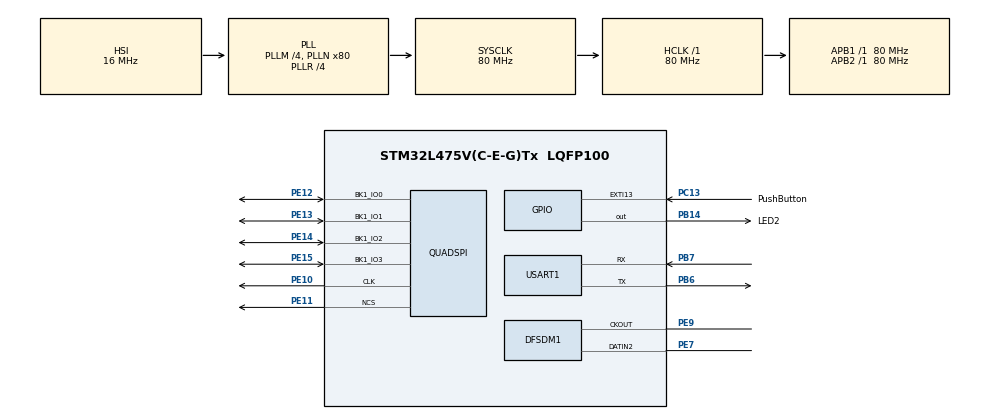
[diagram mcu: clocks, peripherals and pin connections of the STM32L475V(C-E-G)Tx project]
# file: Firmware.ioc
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DFSDM1.Divider=43
DFSDM1.DmaMode_reg_FIL0=ENABLE
DFSDM1.DmaMode_reg_FIL1=ENABLE
DFSDM1.FastMode_reg_FIL0=ENABLE
DFSDM1.FastMode_reg_FIL1=ENABLE
DFSDM1.Filter_regChannel_FIL0=DFSDM_CHANNEL_2
DFSDM1.Filter_regChannel_FIL1=DFSDM_CHANNEL_1
DFSDM1.Fosr_FIL0=64
DFSDM1.Fosr_FIL1=64
DFSDM1.RightBitShift_CH1=0x00
DFSDM1.RightBitShift_CH2=0x00
DFSDM1.Selection=DFSDM_CHANNEL_OUTPUT_CLOCK_AUDIO
DFSDM1.SincOrder_FIL0=DFSDM_FILTER_SINC4_ORDER
DFSDM1.SincOrder_FIL1=DFSDM_FILTER_SINC4_ORDER
DFSDM1.Trigger_reg_FIL1=DFSDM_FILTER_SYNC_TRIGGER
DFSDM1.Type_spi_CH1=DFSDM_CHANNEL_SPI_FALLING
Dma.DFSDM1_FLT0.0.Direction=DMA_PERIPH_TO_MEMORY
Dma.DFSDM1_FLT0.0.Instance=DMA1_Channel4
Dma.DFSDM1_FLT0.0.MemDataAlignment=DMA_MDATAALIGN_WORD
Dma.DFSDM1_FLT0.0.MemInc=DMA_MINC_ENABLE
Dma.DFSDM1_FLT0.0.Mode=DMA_CIRCULAR
Dma.DFSDM1_FLT0.0.PeriphDataAlignment=DMA_PDATAALIGN_WORD
Dma.DFSDM1_FLT0.0.PeriphInc=DMA_PINC_DISABLE
Dma.DFSDM1_FLT0.0.Priority=DMA_PRIORITY_MEDIUM
Dma.DFSDM1_FLT1.1.Direction=DMA_PERIPH_TO_MEMORY
Dma.DFSDM1_FLT1.1.Instance=DMA1_Channel5
Dma.DFSDM1_FLT1.1.MemDataAlignment=DMA_MDATAALIGN_WORD
Dma.DFSDM1_FLT1.1.MemInc=DMA_MINC_ENABLE
Dma.DFSDM1_FLT1.1.Mode=DMA_CIRCULAR
Dma.DFSDM1_FLT1.1.PeriphDataAlignment=DMA_PDATAALIGN_WORD
Dma.DFSDM1_FLT1.1.PeriphInc=DMA_PINC_DISABLE
Dma.DFSDM1_FLT1.1.Priority=DMA_PRIORITY_MEDIUM
Dma.MEMTOMEM.2.Direction=DMA_MEMORY_TO_MEMORY
Dma.MEMTOMEM.2.Instance=DMA2_Channel1
Dma.MEMTOMEM.2.MemDataAlignment=DMA_MDATAALIGN_HALFWORD
Dma.MEMTOMEM.2.MemInc=DMA_MINC_ENABLE
Dma.MEMTOMEM.2.Mode=DMA_NORMAL
Dma.MEMTOMEM.2.PeriphDataAlignment=DMA_PDATAALIGN_WORD
Dma.MEMTOMEM.2.PeriphInc=DMA_PINC_ENABLE
Dma.MEMTOMEM.2.Priority=DMA_PRIORITY_LOW
Dma.Request0=DFSDM1_FLT0
Dma.Request1=DFSDM1_FLT1
Dma.Request2=MEMTOMEM
Mcu.Family=STM32L4
Mcu.Name=STM32L475V(C-E-G)Tx
Mcu.Package=LQFP100
NVIC.DFSDM1_FLT0_IRQn=true\:0\:0\:false\:false\:true\:true\:true
NVIC.DFSDM1_FLT1_IRQn=true\:0\:0\:false\:false\:true\:true\:true
NVIC.DMA1_Channel4_IRQn=true\:0\:0\:false\:false\:true\:false\:true
NVIC.DMA1_Channel5_IRQn=true\:0\:0\:false\:false\:true\:false\:true
NVIC.EXTI15_10_IRQn=true\:0\:0\:false\:false\:true\:true\:true
NVIC.PriorityGroup=NVIC_PRIORITYGROUP_4
NVIC.QUADSPI_IRQn=true\:0\:0\:false\:false\:true\:true\:true
PA13\ (JTMS-SWDIO).Mode=Trace_Asynchronous_SW
PA13\ (JTMS-SWDIO).Signal=SYS_JTMS-SWDIO
PA14\ (JTCK-SWCLK).Mode=Trace_Asynchronous_SW
PA14\ (JTCK-SWCLK).Signal=SYS_JTCK-SWCLK
PB14.GPIO_Label=LED2
PB14.Signal=GPIO_Output
PB3\ (JTDO-TRACESWO).Mode=Trace_Asynchronous_SW
PB3\ (JTDO-TRACESWO).Signal=SYS_JTDO-SWO
PB6.Mode=Asynchronous
PB6.Signal=USART1_TX
PB7.Mode=Asynchronous
PB7.Signal=USART1_RX
PC13.GPIO_Label=PushButton
PC13.Signal=GPXTI13
PE10.Mode=Single Bank
PE10.Signal=QUADSPI_CLK
PE11.Mode=Single Bank
PE11.Signal=QUADSPI_NCS
PE12.Mode=Single Bank
PE12.Signal=QUADSPI_BK1_IO0
PE13.Mode=Single Bank
PE13.Signal=QUADSPI_BK1_IO1
PE14.Mode=Single Bank
PE14.Signal=QUADSPI_BK1_IO2
PE15.Mode=Single Bank
PE15.Signal=QUADSPI_BK1_IO3
PE7.Signal=S_DATAIN2DFSDM1
PE9.Signal=S_CKOUTDFSDM1
ProjectManager.HeapSize=0x2000
ProjectManager.StackSize=0x4000
ProjectManager.TargetToolchain=MDK-ARM V5
QUADSPI.ClockPrescaler-Single\ Bank=0
QUADSPI.FifoThreshold-Single\ Bank=1
QUADSPI.FlashSize-Single\ Bank=22
RCC.ADCFreq_Value=98000000
RCC.AHBFreq_Value=80000000
RCC.APB1Freq_Value=80000000
RCC.APB1TimFreq_Value=80000000
RCC.APB2Freq_Value=80000000
RCC.APB2TimFreq_Value=80000000
RCC.CortexFreq_Value=80000000
RCC.HCLKFreq_Value=80000000
RCC.HSE_VALUE=8000000
RCC.HSI_VALUE=16000000
RCC.LSE_VALUE=32768
RCC.MSI_VALUE=4000000
RCC.PLLM=4
RCC.PLLN=80
RCC.PLLR=RCC_PLLR_DIV4
RCC.PLLSAI1N=49
RCC.PLLSAI2N=77
RCC.PLLSourceVirtual=RCC_PLLSOURCE_HSI
RCC.SYSCLKFreq_VALUE=80000000
RCC.SYSCLKSource=RCC_SYSCLKSOURCE_PLLCLK
RCC.USBFreq_Value=98000000
RCC.VCOOutputFreq_Value=320000000
SH.S_CKOUTDFSDM1.0=DFSDM1_CKOUT,PDM_SPI_input_from_ch2_and_internal_clock
SH.S_CKOUTDFSDM1.1=DFSDM1_CKOUT,PDM_SPI_Input_from_ch12_and_Internal_Clock
SH.S_DATAIN2DFSDM1.0=DFSDM1_DATIN2,PDM_SPI_input_from_ch2_and_internal_clock
SH.S_DATAIN2DFSDM1.1=DFSDM1_DATIN2,PDM_SPI_Input_from_ch12_and_Internal_Clock
STMicroelectronics.X-CUBE-AI.5.0.0.ActivationBufferSizeList=26848
STMicroelectronics.X-CUBE-AI.5.0.0.ApplicationCcArtificialOoIntelligenceJjApplication=ApplicationTemplate
STMicroelectronics.X-CUBE-AI.5.0.0.HeapSize=0x2000
STMicroelectronics.X-CUBE-AI.5.0.0.InternalRamActivationBufferMaxSize=AI_NETWORK_DATA_ACTIVATIONS_SIZE
STMicroelectronics.X-CUBE-AI.5.0.0.LatestDirectoryUsed-129213f6098f1327f2c0a35e0a7ab425955aaf7d6b6f9bac26b286a76cc0bf04=D\:\\ETH\\Courses\\ML_on_uCU\\Project\\MyCodeVersion
STMicroelectronics.X-CUBE-AI.5.0.0.MaximumNumberOfInputLayer=1
STMicroelectronics.X-CUBE-AI.5.0.0.MaximumNumberOfOutputLayer=1
STMicroelectronics.X-CUBE-AI.5.0.0.MaximumSizeOfInputLayer=49920
STMicroelectronics.X-CUBE-AI.5.0.0.MaximumSizeOfOutputLayer=32
STMicroelectronics.X-CUBE-AI.5.0.0.ModelActualCompression-129213f6098f1327f2c0a35e0a7ab425955aaf7d6b6f9bac26b286a76cc0bf04=0.0
STMicroelectronics.X-CUBE-AI.5.0.0.ModelCompression-129213f6098f1327f2c0a35e0a7ab425955aaf7d6b6f9bac26b286a76cc0bf04=1
STMicroelectronics.X-CUBE-AI.5.0.0.ModelFlashOccupation-129213f6098f1327f2c0a35e0a7ab425955aaf7d6b6f9bac26b286a76cc0bf04=106368
STMicroelectronics.X-CUBE-AI.5.0.0.ModelHashList=129213f6098f1327f2c0a35e0a7ab425955aaf7d6b6f9bac26b286a76cc0bf04
STMicroelectronics.X-CUBE-AI.5.0.0.ModelKind-129213f6098f1327f2c0a35e0a7ab425955aaf7d6b6f9bac26b286a76cc0bf04=KERAS
STMicroelectronics.X-CUBE-AI.5.0.0.ModelMacc-129213f6098f1327f2c0a35e0a7ab425955aaf7d6b6f9bac26b286a76cc0bf04=1591312
STMicroelectronics.X-CUBE-AI.5.0.0.ModelName-129213f6098f1327f2c0a35e0a7ab425955aaf7d6b6f9bac26b286a76cc0bf04=network
STMicroelectronics.X-CUBE-AI.5.0.0.ModelNameList=network
STMicroelectronics.X-CUBE-AI.5.0.0.ModelRamOccupation-129213f6098f1327f2c0a35e0a7ab425955aaf7d6b6f9bac26b286a76cc0bf04=26848
STMicroelectronics.X-CUBE-AI.5.0.0.ModelStructureFile-129213f6098f1327f2c0a35e0a7ab425955aaf7d6b6f9bac26b286a76cc0bf04=D\:\\ETH\\Courses\\ML_on_uCU\\Project\\MyCodeVersion\\FinallWithoutGRU.h5
STMicroelectronics.X-CUBE-AI.5.0.0.ModelType-129213f6098f1327f2c0a35e0a7ab425955aaf7d6b6f9bac26b286a76cc0bf04=Saved model
STMicroelectronics.X-CUBE-AI.5.0.0.NNModelInformation_AchievedCompression-129213f6098f1327f2c0a35e0a7ab425955aaf7d6b6f9bac26b286a76cc0bf04=0.0
STMicroelectronics.X-CUBE-AI.5.0.0.NNModelInformation_CompressionFactor-129213f6098f1327f2c0a35e0a7ab425955aaf7d6b6f9bac26b286a76cc0bf04=-0.0018018018018018018
STMicroelectronics.X-CUBE-AI.5.0.0.NNModelInformation_EvaluationStatus-129213f6098f1327f2c0a35e0a7ab425955aaf7d6b6f9bac26b286a76cc0bf04=NOT EVALUATED
STMicroelectronics.X-CUBE-AI.5.0.0.NNModelInformation_HeapSizeNeeded-129213f6098f1327f2c0a35e0a7ab425955aaf7d6b6f9bac26b286a76cc0bf04=2048
STMicroelectronics.X-CUBE-AI.5.0.0.NNModelInformation_ModelInSizeByName-129213f6098f1327f2c0a35e0a7ab425955aaf7d6b6f9bac26b286a76cc0bf04={input_0\=49920}
STMicroelectronics.X-CUBE-AI.5.0.0.NNModelInformation_ModelMacc-129213f6098f1327f2c0a35e0a7ab425955aaf7d6b6f9bac26b286a76cc0bf04=1591312
STMicroelectronics.X-CUBE-AI.5.0.0.NNModelInformation_ModelName-129213f6098f1327f2c0a35e0a7ab425955aaf7d6b6f9bac26b286a76cc0bf04=network
STMicroelectronics.X-CUBE-AI.5.0.0.NNModelInformation_ModelOutSizeByName-129213f6098f1327f2c0a35e0a7ab425955aaf7d6b6f9bac26b286a76cc0bf04={activation_3\=32}
STMicroelectronics.X-CUBE-AI.5.0.0.NNModelInformation_ModelRam-129213f6098f1327f2c0a35e0a7ab425955aaf7d6b6f9bac26b286a76cc0bf04=26848
STMicroelectronics.X-CUBE-AI.5.0.0.NNModelInformation_ModelRom-129213f6098f1327f2c0a35e0a7ab425955aaf7d6b6f9bac26b286a76cc0bf04=106368
STMicroelectronics.X-CUBE-AI.5.0.0.NNModelInformation_ModelSize-129213f6098f1327f2c0a35e0a7ab425955aaf7d6b6f9bac26b286a76cc0bf04=106560
STMicroelectronics.X-CUBE-AI.5.0.0.NNModelInformation_NbOfParameters-129213f6098f1327f2c0a35e0a7ab425955aaf7d6b6f9bac26b286a76cc0bf04=26640
STMicroelectronics.X-CUBE-AI.5.0.0.StackSize=0x4000
STMicroelectronics.X-CUBE-AI.5.0.0.WorkingBufferStartAddrList=0xFFFFFFFF
STMicroelectronics.X-CUBE-AI.5.0.0.XAaCUBEAaAICcArtificialOoIntelligenceJjCore=true
STMicroelectronics.X-CUBE-AI.5.0.0.copyWeightToRam-129213f6098f1327f2c0a35e0a7ab425955aaf7d6b6f9bac26b286a76cc0bf04=false
STMicroelectronics.X-CUBE-AI.5.0.0.useInputAllocation-129213f6098f1327f2c0a35e0a7ab425955aaf7d6b6f9bac26b286a76cc0bf04=false
TIM1.AutoReloadPreload=TIM_AUTORELOAD_PRELOAD_ENABLE
TIM1.Prescaler=79
USART1.VirtualMode-Asynchronous=VM_ASYNC
VP_CRC_VS_CRC.Mode=CRC_Activate
VP_STMicroelectronics.X-CUBE-AI_VS_ArtificialOoIntelligenceJjApplication_5.0.0.Mode=ArtificialOoIntelligenceJjApplication
VP_STMicroelectronics.X-CUBE-AI_VS_ArtificialOoIntelligenceJjXAaCUBEAaAI_5.0.0.Mode=ArtificialOoIntelligenceJjXAaCUBEAaAI
VP_TIM1_VS_ClockSourceINT.Mode=Internal
board=B-L475E-IOT01A

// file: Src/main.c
/* USER CODE BEGIN Header */
/**
  ******************************************************************************
  * @file           : main.c
  * @brief          : Main program body
  ******************************************************************************
  * @attention
  *
  * <h2><center>&copy; Copyright (c) 2020 STMicroelectronics.
  * All rights reserved.</center></h2>
  *
  * This software component is licensed by ST under Ultimate Liberty license
  * SLA0044, the "License"; You may not use this file except in compliance with
  * the License. You may obtain a copy of the License at:
  *                             www.st.com/SLA0044
  *
  ******************************************************************************
  */
/* USER CODE END Header */

#include "main.h"
#include "app_x-cube-ai.h"

/* USER CODE BEGIN Includes */
#include <stdio.h>
#include <stdlib.h>
#include <stdbool.h>
#include <arm_math.h>

/* USER CODE END Includes */

/* USER CODE BEGIN PD */
/*
********************      Exact Sample Rates:
														16000   -->> 	15988
														24000   -->>  24038
														32000   -->>  32609
														40000   -->>  40179
														44100		-->>  44118
														48000   -->>  48077
*/
#define SampleRate	16000 //16000/24000/32000/40000/44100/48000

#define ShiftRight	16		// Adjust Shift right to your loudness

#define mem0BaseAddr 0x00000000
#define mem1BaseAddr 0x00400000
#define QUEUELENGTH 512
#define QUEUELENGTH_Half 256
#define QueDataHalf_1st	0
#define QueDataHalf_3rd	128
#define QueDataFull_1st	256
#define QueDataFull_3rd	384
#define HAL_QSPI_TIMEOUT	180000U // 180 sec //

// define
#define CEILING(x,y) (((x) + (y) - 1) / (y))
#define RecSeconds 3
#define RecN RecSeconds * SampleRate
#define FftN 512
#define FfthalfN ((FftN / 2) + 1)
#define FftNSave ((FftN / 8) + 1)
//#define FftT CEILING(RecN, FftN)
#define FftT 96
#define FeatureN RecN
#define MicN 2
#define UNUSEDVARIABLE(x) (void)(x)

/* USER CODE END PD */

CRC_HandleTypeDef hcrc;

DFSDM_Filter_HandleTypeDef hdfsdm1_filter0;
DFSDM_Filter_HandleTypeDef hdfsdm1_filter1;
DFSDM_Channel_HandleTypeDef hdfsdm1_channel1;
DFSDM_Channel_HandleTypeDef hdfsdm1_channel2;
DMA_HandleTypeDef hdma_dfsdm1_flt0;
DMA_HandleTypeDef hdma_dfsdm1_flt1;

QSPI_HandleTypeDef hqspi;

TIM_HandleTypeDef htim1;

UART_HandleTypeDef huart1;

DMA_HandleTypeDef hdma_memtomem_dma2_channel1;
/* USER CODE BEGIN PV */
volatile bool bufferFull = false;
volatile bool bufferHalfFull = false;
volatile bool recording = false;
volatile bool qspiSendReady = true;

QSPI_CommandTypeDef QSPI_Cmd;
uint32_t mem0Addr = mem0BaseAddr;
uint32_t mem1Addr = mem1BaseAddr;

uint8_t recMem1[256],recMem0[256];
int16_t sendMem1[128],sendMem0[128];
int32_t recBuff1[QUEUELENGTH],recBuff0[QUEUELENGTH];
int16_t amplitude0,amplitude1;

uint8_t state=0;

uint16_t numFull=0,numDetected=0;

// Feature extraction variables
arm_cfft_radix2_instance_f32 fft_struct;
// declare
float32_t* recBuffer;
float32_t* fftBuffer;
uint16_t Fftt;
uint16_t Fftn;
uint8_t Micn;

float32_t mag_max0,mag_max1;

// Feature output == NN input data
float32_t featureBuffer[FftT][FftNSave][MicN];
// NN output data
float32_t outputclassified[8];
//
/* USER CODE END PV */

void SystemClock_Config(void);
static void MX_GPIO_Init(void);
static void MX_DMA_Init(void);
static void MX_DFSDM1_Init(void);
static void MX_USART1_UART_Init(void);
static void MX_QUADSPI_Init(void);
static void MX_TIM1_Init(void);
static void MX_CRC_Init(void);
/* USER CODE BEGIN PFP */

// QSPI memory related functions
static void QSPI_WriteEnable(QSPI_HandleTypeDef *hqspi);
static void QSPI_AutoPollingMemReady(QSPI_HandleTypeDef *hqspi);
static void QSPI_AutoPollingMemReadyIT(QSPI_HandleTypeDef *hqspi);
static void QSPI_Erase(QSPI_HandleTypeDef *QSPIHandle);
static void QSPI_Initilize(QSPI_HandleTypeDef *hqspi);
static void QSPI_Send(QSPI_HandleTypeDef *hqspi,uint8_t *sendData,uint32_t NbData, uint32_t Addr);
static void QSPI_Receive(QSPI_HandleTypeDef *hqspi,uint8_t *receiveData,uint32_t NbData, uint32_t Addr);

// Feature calculation functions
void featureInit(void);
void featureUpdate(float32_t* inputBuffer);
void featureClean(void);
/* USER CODE END PFP */

/* USER CODE BEGIN 0 */
#ifdef __GNUC__
/* With GCC/RAISONANCE, small msg_info (option LD Linker->Libraries->Small msg_info
   set to 'Yes') calls __io_putchar() */
#define PUTCHAR_PROTOTYPE int __io_putchar(int ch)
#define GETCHAR_PROTOTYPE int __io_getchar(void)
#else
#define PUTCHAR_PROTOTYPE int fputc(int ch, FILE *f)
#define GETCHAR_PROTOTYPE int fgetc(FILE *f)
#endif /* __GNUC__ */

PUTCHAR_PROTOTYPE
{
  /* Place your implementation of fputc here */
  /* e.g. write a character to the serial port and Loop until the end of transmission */
  while (HAL_OK != HAL_UART_Transmit(&huart1, (uint8_t *) &ch, 1, 30000))
  {
    ;
  }
  return ch;
}

/**
  * @brief Retargets the C library scanf function to the USART.
  * @param None
  * @retval None
  */
GETCHAR_PROTOTYPE
{
  /* Place your implementation of fgetc here */
  /* e.g. readwrite a character to the USART2 and Loop until the end of transmission */
  uint8_t ch = 0;
  while (HAL_OK != HAL_UART_Receive(&huart1, (uint8_t *)&ch, 1, 30000))
  {
    ;
  }
  return ch;
}

void HAL_DFSDM_FilterRegConvCpltCallback(DFSDM_Filter_HandleTypeDef *hdfsdm_filter)
{
	if (hdfsdm_filter == &hdfsdm1_filter0){
		numFull++;
		if (!bufferFull){
			numDetected++;
			bufferFull = true;
		}
	}
}
void HAL_DFSDM_FilterRegConvHalfCpltCallback(DFSDM_Filter_HandleTypeDef *hdfsdm_filter)
{
	if (!bufferHalfFull && hdfsdm_filter == &hdfsdm1_filter0)
		bufferHalfFull = true;
}
void HAL_QSPI_StatusMatchCallback(QSPI_HandleTypeDef *hqspi)
{
	qspiSendReady = true;
}
void HAL_GPIO_EXTI_Callback(uint16_t GPIO_Pin)
{
  if (GPIO_Pin == PushButton_Pin){
		switch (state){
			case 0:
				HAL_GPIO_WritePin (LED2_GPIO_Port,LED2_Pin,GPIO_PIN_SET);
				state = 1;
			break;
			case 1:
				HAL_GPIO_WritePin (LED2_GPIO_Port,LED2_Pin,GPIO_PIN_RESET);
				state = 2;
			break;
			case 2:
				HAL_GPIO_WritePin (LED2_GPIO_Port,LED2_Pin,GPIO_PIN_RESET);
				state = 0;
			break;
		}
	}
}

/* USER CODE END 0 */

int main(void)
{

  /* MCU Configuration--------------------------------------------------------*/

  /* Reset of all peripherals, Initializes the Flash interface and the Systick. */
  HAL_Init();

  /* Configure the system clock */
  SystemClock_Config();

  /* Initialize all configured peripherals */
  MX_GPIO_Init();
  MX_DMA_Init();
  MX_DFSDM1_Init();
  MX_USART1_UART_Init();
  MX_QUADSPI_Init();
  MX_TIM1_Init();
  MX_CRC_Init();
  MX_X_CUBE_AI_Init();
  /* USER CODE BEGIN 2 */
	printf("Hello\n");

	//	Initilize the QSPI
	HAL_NVIC_DisableIRQ (EXTI15_10_IRQn);
	QSPI_Initilize (&hqspi);
	printf("Initilize memory Done\n");
	HAL_NVIC_EnableIRQ (EXTI15_10_IRQn);

	// Init feature calculation
	printf("init feature calculation\n");
	featureInit();

  /* USER CODE END 2 */

  /* Infinite loop */
  /* USER CODE BEGIN WHILE */
  while (1)
  {
		switch (state){
			case 0: //Idle time at the start before recording
				printf("Idle\n");
				numDetected = 0;
				numFull = 0;
				mem0Addr = mem0BaseAddr;
				mem1Addr = mem1BaseAddr;
				recording = false;
				HAL_Delay (1000);
				featureClean();
				break;

			case 1: //Start Recording and send to mem on every half full

				// Start Recording Command for both channels
				if (recording == false){
					recording = true;
					if(HAL_OK != HAL_DFSDM_FilterRegularStart_DMA(&hdfsdm1_filter1, recBuff1, QUEUELENGTH)){
						printf("error in filter1\n");
						Error_Handler();
					}
					if(HAL_OK != HAL_DFSDM_FilterRegularStart_DMA(&hdfsdm1_filter0, recBuff0, QUEUELENGTH)){
						printf("error in filter0\n");
						Error_Handler();
					}
					printf("Wait for 3sec for valid data\n");
					HAL_Delay(3000);
					printf("started recording\n");
				}

				// Save data to qspi flash mem
				// First, shift data to the right for sufficient amount, according to your speaker's volume
				// Then, send 16bit data to the 16bit registers with DMA
				// Finally, save data through qspi on the flash memory
				if (bufferHalfFull){

					for(int i=QueDataHalf_1st;i<QueDataHalf_3rd;i++){
						recBuff0[i] = recBuff0[i]>>ShiftRight;
					}
					HAL_DMA_Start (&hdma_memtomem_dma2_channel1,(uint32_t)&recBuff0[QueDataHalf_1st],(uint32_t)sendMem0,128);
					HAL_DMA_PollForTransfer (&hdma_memtomem_dma2_channel1,HAL_DMA_FULL_TRANSFER,10);
					QSPI_Send (&hqspi,(uint8_t *)sendMem0,256,mem0Addr);
					mem0Addr +=256;

					for(int i=QueDataHalf_1st;i<QueDataHalf_3rd;i++){
						recBuff1[i] = recBuff1[i]>>ShiftRight;
					}
					HAL_DMA_Start (&hdma_memtomem_dma2_channel1,(uint32_t)&recBuff1[QueDataHalf_1st],(uint32_t)sendMem1,128);
					HAL_DMA_PollForTransfer (&hdma_memtomem_dma2_channel1,HAL_DMA_FULL_TRANSFER,10);
					QSPI_Send (&hqspi,(uint8_t *)sendMem1,256,mem1Addr);
					mem1Addr +=256;

					for(int i=QueDataHalf_3rd;i<QUEUELENGTH_Half;i++){
						recBuff0[i] = recBuff0[i]>>ShiftRight;
					}
					HAL_DMA_Start (&hdma_memtomem_dma2_channel1,(uint32_t)&recBuff0[QueDataHalf_3rd],(uint32_t)sendMem0,128);
					HAL_DMA_PollForTransfer (&hdma_memtomem_dma2_channel1,HAL_DMA_FULL_TRANSFER,10);
					QSPI_Send (&hqspi,(uint8_t *)sendMem0,256,mem0Addr);
					mem0Addr +=256;

					for(int i=QueDataHalf_3rd;i<QUEUELENGTH_Half;i++){
						recBuff1[i] = recBuff1[i]>>ShiftRight;
					}
					HAL_DMA_Start (&hdma_memtomem_dma2_channel1,(uint32_t)&recBuff1[QueDataHalf_3rd],(uint32_t)sendMem1,128);
					HAL_DMA_PollForTransfer (&hdma_memtomem_dma2_channel1,HAL_DMA_FULL_TRANSFER,10);
					QSPI_Send (&hqspi,(uint8_t *)sendMem1,256,mem1Addr);
					mem1Addr +=256;

					bufferHalfFull = false;
				}

				if (bufferFull){

					for(int i=QueDataFull_1st;i<QueDataFull_3rd;i++){
						recBuff0[i] = recBuff0[i]>>ShiftRight;
					}
					HAL_DMA_Start (&hdma_memtomem_dma2_channel1,(uint32_t)&recBuff0[QueDataFull_1st],(uint32_t)sendMem0,128);
					HAL_DMA_PollForTransfer (&hdma_memtomem_dma2_channel1,HAL_DMA_FULL_TRANSFER,10);
					QSPI_Send (&hqspi,(uint8_t *)sendMem0,256,mem0Addr);
					mem0Addr +=256;

					for(int i=QueDataFull_1st;i<QueDataFull_3rd;i++){
						recBuff1[i] = recBuff1[i]>>ShiftRight;
					}
					HAL_DMA_Start (&hdma_memtomem_dma2_channel1,(uint32_t)&recBuff1[QueDataFull_1st],(uint32_t)sendMem1,128);
					HAL_DMA_PollForTransfer (&hdma_memtomem_dma2_channel1,HAL_DMA_FULL_TRANSFER,10);
					QSPI_Send (&hqspi,(uint8_t *)sendMem1,256,mem1Addr);
					mem1Addr +=256;

					for(int i=QueDataFull_3rd;i<QUEUELENGTH;i++){
						recBuff0[i] = recBuff0[i]>>ShiftRight;
					}
					HAL_DMA_Start (&hdma_memtomem_dma2_channel1,(uint32_t)&recBuff0[QueDataFull_3rd],(uint32_t)sendMem0,128);
					HAL_DMA_PollForTransfer (&hdma_memtomem_dma2_channel1,HAL_DMA_FULL_TRANSFER,10);
					QSPI_Send (&hqspi,(uint8_t *)sendMem0,256,mem0Addr);
					mem0Addr +=256;

					for(int i=QueDataFull_3rd;i<QUEUELENGTH;i++){
						recBuff1[i] = recBuff1[i]>>ShiftRight;
					}
					HAL_DMA_Start (&hdma_memtomem_dma2_channel1,(uint32_t)&recBuff1[QueDataFull_3rd],(uint32_t)sendMem1,128);
					HAL_DMA_PollForTransfer (&hdma_memtomem_dma2_channel1,HAL_DMA_FULL_TRANSFER,10);
					QSPI_Send (&hqspi,(uint8_t *)sendMem1,256,mem1Addr);
					mem1Addr +=256;

					bufferFull = false;
				}
				break;
			case 2: // Recording Done, Sending Data over UART to the system
				HAL_DFSDM_FilterRegularStop_DMA (&hdfsdm1_filter1);
				HAL_DFSDM_FilterRegularStop_DMA (&hdfsdm1_filter0);
				recording = false;
				HAL_NVIC_DisableIRQ (EXTI15_10_IRQn);
				printf("Stopped Recording and Send Data Over\n");

				// Save on the flash mem if anything is left in the buf
				if (bufferHalfFull){

					for(int i=QueDataHalf_1st;i<QueDataHalf_3rd;i++){
						recBuff0[i] = recBuff0[i]>>ShiftRight;
					}
					HAL_DMA_Start (&hdma_memtomem_dma2_channel1,(uint32_t)&recBuff0[QueDataHalf_1st],(uint32_t)sendMem0,128);
					QSPI_Send (&hqspi,(uint8_t *)sendMem0,256,mem0Addr);
					mem0Addr +=256;

					for(int i=QueDataHalf_1st;i<QueDataHalf_3rd;i++){
						recBuff1[i] = recBuff1[i]>>ShiftRight;
					}
					HAL_DMA_Start (&hdma_memtomem_dma2_channel1,(uint32_t)&recBuff1[QueDataHalf_1st],(uint32_t)sendMem1,128);
					QSPI_Send (&hqspi,(uint8_t *)sendMem1,256,mem1Addr);
					mem1Addr +=256;

					for(int i=QueDataHalf_3rd;i<QUEUELENGTH_Half;i++){
						recBuff0[i] = recBuff0[i]>>ShiftRight;
					}
					HAL_DMA_Start (&hdma_memtomem_dma2_channel1,(uint32_t)&recBuff0[QueDataHalf_3rd],(uint32_t)sendMem0,128);
					QSPI_Send (&hqspi,(uint8_t *)sendMem0,256,mem0Addr);
					mem0Addr +=256;

					for(int i=QueDataHalf_3rd;i<QUEUELENGTH_Half;i++){
						recBuff1[i] = recBuff1[i]>>ShiftRight;
					}
					HAL_DMA_Start (&hdma_memtomem_dma2_channel1,(uint32_t)&recBuff1[QueDataHalf_3rd],(uint32_t)sendMem1,128);
					QSPI_Send (&hqspi,(uint8_t *)sendMem1,256,mem1Addr);
					mem1Addr +=256;

					bufferHalfFull = false;
				}

				if (bufferFull){

					for(int i=QueDataFull_1st;i<QueDataFull_3rd;i++){
						recBuff0[i] = recBuff0[i]>>ShiftRight;
					}
					HAL_DMA_Start (&hdma_memtomem_dma2_channel1,(uint32_t)&recBuff0[QueDataFull_1st],(uint32_t)sendMem0,128);
					QSPI_Send (&hqspi,(uint8_t *)sendMem0,256,mem0Addr);
					mem0Addr +=256;

					for(int i=QueDataFull_1st;i<QueDataFull_3rd;i++){
						recBuff1[i] = recBuff1[i]>>ShiftRight;
					}
					HAL_DMA_Start (&hdma_memtomem_dma2_channel1,(uint32_t)&recBuff1[QueDataFull_1st],(uint32_t)sendMem1,128);
					QSPI_Send (&hqspi,(uint8_t *)sendMem1,256,mem1Addr);
					mem1Addr +=256;

					for(int i=QueDataFull_3rd;i<QUEUELENGTH;i++){
						recBuff0[i] = recBuff0[i]>>ShiftRight;
					}
					HAL_DMA_Start (&hdma_memtomem_dma2_channel1,(uint32_t)&recBuff0[QueDataFull_3rd],(uint32_t)sendMem0,128);
					QSPI_Send (&hqspi,(uint8_t *)sendMem0,256,mem0Addr);
					mem0Addr +=256;

					for(int i=QueDataFull_3rd;i<QUEUELENGTH;i++){
						recBuff1[i] = recBuff1[i]>>ShiftRight;
					}
					HAL_DMA_Start (&hdma_memtomem_dma2_channel1,(uint32_t)&recBuff1[QueDataFull_3rd],(uint32_t)sendMem1,128);
					QSPI_Send (&hqspi,(uint8_t *)sendMem1,256,mem1Addr);
					mem1Addr +=256;

					bufferFull = false;
				}

				// Recieve data from QSPI mem and send over UART
				// First part of data is from channel 0
				// Second part of data is from channel 1
				printf ("Number of buffer full: %d\n",numFull);
				printf ("Number of detected full: %d\n",numDetected);
				mem0Addr -=256;
				Micn = 0; // microphone number
				Fftn = 0; // fft bin number
				Fftt = 0; // fft window number
				for (uint32_t addr=mem0BaseAddr; addr<=mem0Addr; addr+=256){
					QSPI_Receive (&hqspi,recMem0,256,addr);
					for (int i=0;i<256;i+=2){
						amplitude0 = (int16_t)(((uint16_t) recMem0[i]) + (((uint16_t) recMem0[i+1])<<8));
						//printf ("%i\n",amplitude0);
						// Update feature calculation
						if(Fftt < FftT){
							recBuffer[Fftn] = ((float32_t)amplitude0)/32767;
							if(Fftn == FftN){
								Fftn = 0;
								featureUpdate(recBuffer);
								Fftt += 1;
							}else{
								Fftn += 1;
							}
						}
					}
				}
				mem1Addr -=256;
				Micn = 1;
				Fftn = 0;
				Fftt = 0;
				for (uint32_t addr=mem1BaseAddr; addr<=mem1Addr; addr+=256){
					QSPI_Receive (&hqspi,recMem1,256,addr);
					for (int i=0;i<256;i+=2){
						amplitude1 = (int16_t)(((uint16_t) recMem1[i]) + (((uint16_t) recMem1[i+1])<<8));
						//printf ("%i\n",amplitude1);
						// Update feature calculation
						if(Fftt < FftT){
							recBuffer[Fftn] = ((float32_t)amplitude1)/32767;
							if(Fftn == FftN){
								Fftn = 0;
								featureUpdate(recBuffer);
								Fftt += 1;
							}else{
								Fftn += 1;
							}
						}
					}
				}

				printf ("Finished Sending Data, Erasing memory\n");
				QSPI_Erase (&hqspi);

				printf ("Extracted Size: %d * %d * %d\n",Fftt,FftNSave,MicN);

				mag_max0 = mag_max0/32767;
				mag_max1 = mag_max1/32767;
				for (int i=0;i<FftT;i++){
					for (int j=0;j<FftNSave;j++){
							featureBuffer[i][j][0] = (int16_t)(featureBuffer[i][j][0]/mag_max0);
							featureBuffer[i][j][1] = (int16_t)(featureBuffer[i][j][1]/mag_max1);
							//printf ("%f\n",featureBuffer[i][j][0]);
					}
				}

				printf ("Prediction:\n");

				MX_X_CUBE_AI_Process();

				printf ("Wait for erasing\n");
				while (!qspiSendReady);
				printf ("Erasing Done\n");
				HAL_NVIC_EnableIRQ (EXTI15_10_IRQn);
				state = 0;

				break;
		}

    /* USER CODE END WHILE */

  //MX_X_CUBE_AI_Process();
  }
}

void SystemClock_Config(void)
{
  RCC_OscInitTypeDef RCC_OscInitStruct = {0};
  RCC_ClkInitTypeDef RCC_ClkInitStruct = {0};
  RCC_PeriphCLKInitTypeDef PeriphClkInit = {0};

  /** Initializes the CPU, AHB and APB busses clocks
  */
  RCC_OscInitStruct.OscillatorType = RCC_OSCILLATORTYPE_HSI;
  RCC_OscInitStruct.HSIState = RCC_HSI_ON;
  RCC_OscInitStruct.HSICalibrationValue = RCC_HSICALIBRATION_DEFAULT;
  RCC_OscInitStruct.PLL.PLLState = RCC_PLL_ON;
  RCC_OscInitStruct.PLL.PLLSource = RCC_PLLSOURCE_HSI;
  RCC_OscInitStruct.PLL.PLLM = 4;
  RCC_OscInitStruct.PLL.PLLN = 80;
  RCC_OscInitStruct.PLL.PLLP = RCC_PLLP_DIV7;
  RCC_OscInitStruct.PLL.PLLQ = RCC_PLLQ_DIV2;
  RCC_OscInitStruct.PLL.PLLR = RCC_PLLR_DIV4;
  if (HAL_RCC_OscConfig(&RCC_OscInitStruct) != HAL_OK)
  {
    Error_Handler();
  }
  /** Initializes the CPU, AHB and APB busses clocks
  */
  RCC_ClkInitStruct.ClockType = RCC_CLOCKTYPE_HCLK|RCC_CLOCKTYPE_SYSCLK
                              |RCC_CLOCKTYPE_PCLK1|RCC_CLOCKTYPE_PCLK2;
  RCC_ClkInitStruct.SYSCLKSource = RCC_SYSCLKSOURCE_PLLCLK;
  RCC_ClkInitStruct.AHBCLKDivider = RCC_SYSCLK_DIV1;
  RCC_ClkInitStruct.APB1CLKDivider = RCC_HCLK_DIV1;
  RCC_ClkInitStruct.APB2CLKDivider = RCC_HCLK_DIV1;

  if (HAL_RCC_ClockConfig(&RCC_ClkInitStruct, FLASH_LATENCY_4) != HAL_OK)
  {
    Error_Handler();
  }
  PeriphClkInit.PeriphClockSelection = RCC_PERIPHCLK_USART1|RCC_PERIPHCLK_SAI1
                              |RCC_PERIPHCLK_DFSDM1;
  PeriphClkInit.Usart1ClockSelection = RCC_USART1CLKSOURCE_PCLK2;
  PeriphClkInit.Sai1ClockSelection = RCC_SAI1CLKSOURCE_PLLSAI1;
  PeriphClkInit.Dfsdm1ClockSelection = RCC_DFSDM1CLKSOURCE_PCLK;
  PeriphClkInit.PLLSAI1.PLLSAI1Source = RCC_PLLSOURCE_HSI;
  PeriphClkInit.PLLSAI1.PLLSAI1M = 4;
  if (SampleRate == 16000)
		PeriphClkInit.PLLSAI1.PLLSAI1N = 77;
	else if(SampleRate == 24000)
		PeriphClkInit.PLLSAI1.PLLSAI1N = 35;
	else if(SampleRate == 32000)
		PeriphClkInit.PLLSAI1.PLLSAI1N = 84;
	else if(SampleRate == 40000)
		PeriphClkInit.PLLSAI1.PLLSAI1N = 63;
	else if(SampleRate == 44100)
		PeriphClkInit.PLLSAI1.PLLSAI1N = 84;
	else if(SampleRate == 48000)
		PeriphClkInit.PLLSAI1.PLLSAI1N = 70;
  PeriphClkInit.PLLSAI1.PLLSAI1P = RCC_PLLP_DIV7;
  PeriphClkInit.PLLSAI1.PLLSAI1Q = RCC_PLLQ_DIV2;
  PeriphClkInit.PLLSAI1.PLLSAI1R = RCC_PLLR_DIV2;
  PeriphClkInit.PLLSAI1.PLLSAI1ClockOut = RCC_PLLSAI1_SAI1CLK;
  if (HAL_RCCEx_PeriphCLKConfig(&PeriphClkInit) != HAL_OK)
  {
    Error_Handler();
  }
  /** Configure the main internal regulator output voltage
  */
  if (HAL_PWREx_ControlVoltageScaling(PWR_REGULATOR_VOLTAGE_SCALE1) != HAL_OK)
  {
    Error_Handler();
  }
}

static void MX_CRC_Init(void)
{

  hcrc.Instance = CRC;
  hcrc.Init.DefaultPolynomialUse = DEFAULT_POLYNOMIAL_ENABLE;
  hcrc.Init.DefaultInitValueUse = DEFAULT_INIT_VALUE_ENABLE;
  hcrc.Init.InputDataInversionMode = CRC_INPUTDATA_INVERSION_NONE;
  hcrc.Init.OutputDataInversionMode = CRC_OUTPUTDATA_INVERSION_DISABLE;
  hcrc.InputDataFormat = CRC_INPUTDATA_FORMAT_BYTES;
  if (HAL_CRC_Init(&hcrc) != HAL_OK)
  {
    Error_Handler();
  }

}

static void MX_DFSDM1_Init(void)
{

  /* USER CODE BEGIN DFSDM1_Init 0 */
	/*																					// Add this part to the SystemClock_Config function whenever recreating code from cube
	if (SampleRate == 16000)
		PeriphClkInit.PLLSAI1.PLLSAI1N = 77;
	else if(SampleRate == 24000)
		PeriphClkInit.PLLSAI1.PLLSAI1N = 35;
	else if(SampleRate == 32000)
		PeriphClkInit.PLLSAI1.PLLSAI1N = 84;
	else if(SampleRate == 40000)
		PeriphClkInit.PLLSAI1.PLLSAI1N = 63;
	else if(SampleRate == 44100)
		PeriphClkInit.PLLSAI1.PLLSAI1N = 84;
	else if(SampleRate == 48000)
		PeriphClkInit.PLLSAI1.PLLSAI1N = 70;
	*/
	int clockdivider;														// Add clockdivider instead of the value whenever recreating code from cube
	if (SampleRate == 16000)
		clockdivider = 43;
	else if (SampleRate == 24000)
		clockdivider = 13;
	else if (SampleRate == 32000)
		clockdivider = 23;
	else if (SampleRate == 40000)
		clockdivider = 14;
	else if (SampleRate == 44100)
		clockdivider = 17;
	else if (SampleRate == 48000)
		clockdivider = 13;

  /* USER CODE END DFSDM1_Init 0 */

  hdfsdm1_filter0.Instance = DFSDM1_Filter0;
  hdfsdm1_filter0.Init.RegularParam.Trigger = DFSDM_FILTER_SW_TRIGGER;
  hdfsdm1_filter0.Init.RegularParam.FastMode = ENABLE;
  hdfsdm1_filter0.Init.RegularParam.DmaMode = ENABLE;
  hdfsdm1_filter0.Init.FilterParam.SincOrder = DFSDM_FILTER_SINC4_ORDER;
  hdfsdm1_filter0.Init.FilterParam.Oversampling = 64;
  hdfsdm1_filter0.Init.FilterParam.IntOversampling = 1;
  if (HAL_DFSDM_FilterInit(&hdfsdm1_filter0) != HAL_OK)
  {
    Error_Handler();
  }
  hdfsdm1_filter1.Instance = DFSDM1_Filter1;
  hdfsdm1_filter1.Init.RegularParam.Trigger = DFSDM_FILTER_SYNC_TRIGGER;
  hdfsdm1_filter1.Init.RegularParam.FastMode = ENABLE;
  hdfsdm1_filter1.Init.RegularParam.DmaMode = ENABLE;
  hdfsdm1_filter1.Init.FilterParam.SincOrder = DFSDM_FILTER_SINC4_ORDER;
  hdfsdm1_filter1.Init.FilterParam.Oversampling = 64;
  hdfsdm1_filter1.Init.FilterParam.IntOversampling = 1;
  if (HAL_DFSDM_FilterInit(&hdfsdm1_filter1) != HAL_OK)
  {
    Error_Handler();
  }
  hdfsdm1_channel1.Instance = DFSDM1_Channel1;
  hdfsdm1_channel1.Init.OutputClock.Activation = ENABLE;
  hdfsdm1_channel1.Init.OutputClock.Selection = DFSDM_CHANNEL_OUTPUT_CLOCK_AUDIO;
  hdfsdm1_channel1.Init.OutputClock.Divider = clockdivider;
  hdfsdm1_channel1.Init.Input.Multiplexer = DFSDM_CHANNEL_EXTERNAL_INPUTS;
  hdfsdm1_channel1.Init.Input.DataPacking = DFSDM_CHANNEL_STANDARD_MODE;
  hdfsdm1_channel1.Init.Input.Pins = DFSDM_CHANNEL_FOLLOWING_CHANNEL_PINS;
  hdfsdm1_channel1.Init.SerialInterface.Type = DFSDM_CHANNEL_SPI_FALLING;
  hdfsdm1_channel1.Init.SerialInterface.SpiClock = DFSDM_CHANNEL_SPI_CLOCK_INTERNAL;
  hdfsdm1_channel1.Init.Awd.FilterOrder = DFSDM_CHANNEL_FASTSINC_ORDER;
  hdfsdm1_channel1.Init.Awd.Oversampling = 1;
  hdfsdm1_channel1.Init.Offset = 0;
  hdfsdm1_channel1.Init.RightBitShift = 0x00;
  if (HAL_DFSDM_ChannelInit(&hdfsdm1_channel1) != HAL_OK)
  {
    Error_Handler();
  }
  hdfsdm1_channel2.Instance = DFSDM1_Channel2;
  hdfsdm1_channel2.Init.OutputClock.Activation = ENABLE;
  hdfsdm1_channel2.Init.OutputClock.Selection = DFSDM_CHANNEL_OUTPUT_CLOCK_AUDIO;
  hdfsdm1_channel2.Init.OutputClock.Divider = clockdivider;
  hdfsdm1_channel2.Init.Input.Multiplexer = DFSDM_CHANNEL_EXTERNAL_INPUTS;
  hdfsdm1_channel2.Init.Input.DataPacking = DFSDM_CHANNEL_STANDARD_MODE;
  hdfsdm1_channel2.Init.Input.Pins = DFSDM_CHANNEL_SAME_CHANNEL_PINS;
  hdfsdm1_channel2.Init.SerialInterface.Type = DFSDM_CHANNEL_SPI_RISING;
  hdfsdm1_channel2.Init.SerialInterface.SpiClock = DFSDM_CHANNEL_SPI_CLOCK_INTERNAL;
  hdfsdm1_channel2.Init.Awd.FilterOrder = DFSDM_CHANNEL_FASTSINC_ORDER;
  hdfsdm1_channel2.Init.Awd.Oversampling = 1;
  hdfsdm1_channel2.Init.Offset = 0;
  hdfsdm1_channel2.Init.RightBitShift = 0x00;
  if (HAL_DFSDM_ChannelInit(&hdfsdm1_channel2) != HAL_OK)
  {
    Error_Handler();
  }
  if (HAL_DFSDM_FilterConfigRegChannel(&hdfsdm1_filter0, DFSDM_CHANNEL_2, DFSDM_CONTINUOUS_CONV_ON) != HAL_OK)
  {
    Error_Handler();
  }
  if (HAL_DFSDM_FilterConfigRegChannel(&hdfsdm1_filter1, DFSDM_CHANNEL_1, DFSDM_CONTINUOUS_CONV_ON) != HAL_OK)
  {
    Error_Handler();
  }

}

static void MX_QUADSPI_Init(void)
{

  /* QUADSPI parameter configuration*/
  hqspi.Instance = QUADSPI;
  hqspi.Init.ClockPrescaler = 0;
  hqspi.Init.FifoThreshold = 1;
  hqspi.Init.SampleShifting = QSPI_SAMPLE_SHIFTING_NONE;
  hqspi.Init.FlashSize = 22;
  hqspi.Init.ChipSelectHighTime = QSPI_CS_HIGH_TIME_1_CYCLE;
  hqspi.Init.ClockMode = QSPI_CLOCK_MODE_0;
  if (HAL_QSPI_Init(&hqspi) != HAL_OK)
  {
    Error_Handler();
  }

}

static void MX_TIM1_Init(void)
{

  TIM_ClockConfigTypeDef sClockSourceConfig = {0};
  TIM_MasterConfigTypeDef sMasterConfig = {0};

  htim1.Instance = TIM1;
  htim1.Init.Prescaler = 79;
  htim1.Init.CounterMode = TIM_COUNTERMODE_UP;
  htim1.Init.Period = 0;
  htim1.Init.ClockDivision = TIM_CLOCKDIVISION_DIV1;
  htim1.Init.RepetitionCounter = 0;
  htim1.Init.AutoReloadPreload = TIM_AUTORELOAD_PRELOAD_ENABLE;
  if (HAL_TIM_Base_Init(&htim1) != HAL_OK)
  {
    Error_Handler();
  }
  sClockSourceConfig.ClockSource = TIM_CLOCKSOURCE_INTERNAL;
  if (HAL_TIM_ConfigClockSource(&htim1, &sClockSourceConfig) != HAL_OK)
  {
    Error_Handler();
  }
  sMasterConfig.MasterOutputTrigger = TIM_TRGO_RESET;
  sMasterConfig.MasterOutputTrigger2 = TIM_TRGO2_RESET;
  sMasterConfig.MasterSlaveMode = TIM_MASTERSLAVEMODE_DISABLE;
  if (HAL_TIMEx_MasterConfigSynchronization(&htim1, &sMasterConfig) != HAL_OK)
  {
    Error_Handler();
  }

}

static void MX_USART1_UART_Init(void)
{

  huart1.Instance = USART1;
  huart1.Init.BaudRate = 115200;
  huart1.Init.WordLength = UART_WORDLENGTH_8B;
  huart1.Init.StopBits = UART_STOPBITS_1;
  huart1.Init.Parity = UART_PARITY_NONE;
  huart1.Init.Mode = UART_MODE_TX_RX;
  huart1.Init.HwFlowCtl = UART_HWCONTROL_NONE;
  huart1.Init.OverSampling = UART_OVERSAMPLING_16;
  huart1.Init.OneBitSampling = UART_ONE_BIT_SAMPLE_DISABLE;
  huart1.AdvancedInit.AdvFeatureInit = UART_ADVFEATURE_NO_INIT;
  if (HAL_UART_Init(&huart1) != HAL_OK)
  {
    Error_Handler();
  }

}

static void MX_DMA_Init(void)
{

  /* DMA controller clock enable */
  __HAL_RCC_DMA1_CLK_ENABLE();
  __HAL_RCC_DMA2_CLK_ENABLE();

  /* Configure DMA request hdma_memtomem_dma2_channel1 on DMA2_Channel1 */
  hdma_memtomem_dma2_channel1.Instance = DMA2_Channel1;
  hdma_memtomem_dma2_channel1.Init.Request = DMA_REQUEST_0;
  hdma_memtomem_dma2_channel1.Init.Direction = DMA_MEMORY_TO_MEMORY;
  hdma_memtomem_dma2_channel1.Init.PeriphInc = DMA_PINC_ENABLE;
  hdma_memtomem_dma2_channel1.Init.MemInc = DMA_MINC_ENABLE;
  hdma_memtomem_dma2_channel1.Init.PeriphDataAlignment = DMA_PDATAALIGN_WORD;
  hdma_memtomem_dma2_channel1.Init.MemDataAlignment = DMA_MDATAALIGN_HALFWORD;
  hdma_memtomem_dma2_channel1.Init.Mode = DMA_NORMAL;
  hdma_memtomem_dma2_channel1.Init.Priority = DMA_PRIORITY_LOW;
  if (HAL_DMA_Init(&hdma_memtomem_dma2_channel1) != HAL_OK)
  {
    Error_Handler( );
  }

  /* DMA interrupt init */
  /* DMA1_Channel4_IRQn interrupt configuration */
  HAL_NVIC_SetPriority(DMA1_Channel4_IRQn, 0, 0);
  HAL_NVIC_EnableIRQ(DMA1_Channel4_IRQn);
  /* DMA1_Channel5_IRQn interrupt configuration */
  HAL_NVIC_SetPriority(DMA1_Channel5_IRQn, 0, 0);
  HAL_NVIC_EnableIRQ(DMA1_Channel5_IRQn);

}

static void MX_GPIO_Init(void)
{
  GPIO_InitTypeDef GPIO_InitStruct = {0};

  /* GPIO Ports Clock Enable */
  __HAL_RCC_GPIOC_CLK_ENABLE();
  __HAL_RCC_GPIOE_CLK_ENABLE();
  __HAL_RCC_GPIOB_CLK_ENABLE();
  __HAL_RCC_GPIOA_CLK_ENABLE();

  /*Configure GPIO pin Output Level */
  HAL_GPIO_WritePin(LED2_GPIO_Port, LED2_Pin, GPIO_PIN_RESET);

  /*Configure GPIO pin : PushButton_Pin */
  GPIO_InitStruct.Pin = PushButton_Pin;
  GPIO_InitStruct.Mode = GPIO_MODE_IT_RISING;
  GPIO_InitStruct.Pull = GPIO_NOPULL;
  HAL_GPIO_Init(PushButton_GPIO_Port, &GPIO_InitStruct);

  /*Configure GPIO pin : LED2_Pin */
  GPIO_InitStruct.Pin = LED2_Pin;
  GPIO_InitStruct.Mode = GPIO_MODE_OUTPUT_PP;
  GPIO_InitStruct.Pull = GPIO_NOPULL;
  GPIO_InitStruct.Speed = GPIO_SPEED_FREQ_LOW;
  HAL_GPIO_Init(LED2_GPIO_Port, &GPIO_InitStruct);

  /* EXTI interrupt init*/
  HAL_NVIC_SetPriority(EXTI15_10_IRQn, 0, 0);
  HAL_NVIC_EnableIRQ(EXTI15_10_IRQn);

}

/* USER CODE BEGIN 4 */
/**
  * @brief  This function send a Write Enable and wait it is effective.
  * @param  hqspi: QSPI handle
  * @retval None
  */
static void QSPI_WriteEnable(QSPI_HandleTypeDef *QSPIHandle)
{
  QSPI_AutoPollingTypeDef sConfig;

  /* Enable write operations ------------------------------------------ */
	QSPI_Cmd.InstructionMode		= QSPI_INSTRUCTION_1_LINE;
	QSPI_Cmd.AddressSize				= QSPI_ADDRESS_24_BITS;
  QSPI_Cmd.AlternateByteMode	= QSPI_ALTERNATE_BYTES_NONE;
	QSPI_Cmd.AlternateBytes			= 0;
	QSPI_Cmd.AlternateBytesSize = 0;
  QSPI_Cmd.DdrMode						= QSPI_DDR_MODE_DISABLE;
	QSPI_Cmd.DdrHoldHalfCycle		= QSPI_DDR_HHC_ANALOG_DELAY;
  QSPI_Cmd.SIOOMode						= QSPI_SIOO_INST_EVERY_CMD;    // No change needed till this point
	QSPI_Cmd.Instruction				= 0x06;
	QSPI_Cmd.Address						= 0;
	QSPI_Cmd.AddressMode				= QSPI_ADDRESS_NONE;
	QSPI_Cmd.DummyCycles				= 0;
	QSPI_Cmd.DataMode						= QSPI_DATA_NONE;
	QSPI_Cmd.NbData							= 0;

  if (HAL_QSPI_Command(QSPIHandle, &QSPI_Cmd, HAL_QSPI_TIMEOUT) != HAL_OK)
  {
    Error_Handler();
  }

  /* Configure automatic polling mode to wait for write enabling ---- */
  sConfig.Match           = 0x02;
  sConfig.Mask            = 0x02;
  sConfig.MatchMode       = QSPI_MATCH_MODE_AND;
  sConfig.StatusBytesSize = 1;
  sConfig.Interval        = 0x10;
  sConfig.AutomaticStop   = QSPI_AUTOMATIC_STOP_ENABLE;

	QSPI_Cmd.Instruction				= 0x05;
	QSPI_Cmd.Address						= 0;
	QSPI_Cmd.AddressMode				= QSPI_ADDRESS_NONE;
	QSPI_Cmd.DummyCycles				= 0;
	QSPI_Cmd.DataMode						= QSPI_DATA_1_LINE;
	QSPI_Cmd.NbData							= 1;

  if (HAL_QSPI_AutoPolling(QSPIHandle, &QSPI_Cmd, &sConfig, HAL_QSPI_TIMEOUT) != HAL_OK)
  {
    Error_Handler();
  }
}

/**
  * @brief  This function read the SR of the memory and wait the EOP. Blocking mode
  * @param  hqspi: QSPI handle
  * @retval None
  */
static void QSPI_AutoPollingMemReady(QSPI_HandleTypeDef *QSPIHandle)
{
  QSPI_AutoPollingTypeDef sConfig;

  /* Configure automatic polling mode to wait for memory ready ------ */

	QSPI_Cmd.Instruction				= 0x05;
	QSPI_Cmd.Address						= 0;
	QSPI_Cmd.AddressMode				= QSPI_ADDRESS_NONE;
	QSPI_Cmd.DummyCycles				= 0;
	QSPI_Cmd.DataMode						= QSPI_DATA_1_LINE;
	QSPI_Cmd.NbData							= 1;

  sConfig.Match           = 0x00;
  sConfig.Mask            = 0x01;
  sConfig.MatchMode       = QSPI_MATCH_MODE_AND;
  sConfig.StatusBytesSize = 1;
  sConfig.Interval        = 0x10;
  sConfig.AutomaticStop   = QSPI_AUTOMATIC_STOP_ENABLE;

  if (HAL_QSPI_AutoPolling(QSPIHandle, &QSPI_Cmd, &sConfig,HAL_QSPI_TIMEOUT) != HAL_OK)
  {
    Error_Handler();
  }
}
/**
  * @brief  This function read the SR of the memory and wait the EOP. Non-Blocking mode
  * @param  hqspi: QSPI handle
  * @retval None
  */
static void QSPI_AutoPollingMemReadyIT(QSPI_HandleTypeDef *QSPIHandle)
{
  QSPI_AutoPollingTypeDef sConfig;

  /* Configure automatic polling mode to wait for memory ready ------ */

	QSPI_Cmd.Instruction				= 0x05;
	QSPI_Cmd.Address						= 0;
	QSPI_Cmd.AddressMode				= QSPI_ADDRESS_NONE;
	QSPI_Cmd.DummyCycles				= 0;
	QSPI_Cmd.DataMode						= QSPI_DATA_1_LINE;
	QSPI_Cmd.NbData							= 1;

  sConfig.Match           = 0x00;
  sConfig.Mask            = 0x01;
  sConfig.MatchMode       = QSPI_MATCH_MODE_AND;
  sConfig.StatusBytesSize = 1;
  sConfig.Interval        = 0x10;
  sConfig.AutomaticStop   = QSPI_AUTOMATIC_STOP_ENABLE;

  if (HAL_QSPI_AutoPolling_IT(QSPIHandle, &QSPI_Cmd, &sConfig) != HAL_OK)
  {
    Error_Handler();
  }
}
static void QSPI_Erase(QSPI_HandleTypeDef *QSPIHandle)
{
	//	Erase whole chip before programming
	QSPI_WriteEnable (QSPIHandle);
	QSPI_Cmd.Instruction			= 0x60;
	QSPI_Cmd.Address					= 0;
	QSPI_Cmd.AddressMode			= QSPI_ADDRESS_NONE;
	QSPI_Cmd.DummyCycles			= 0;
	QSPI_Cmd.DataMode					= QSPI_DATA_NONE;
	QSPI_Cmd.NbData						= 0;
	HAL_QSPI_Command (QSPIHandle,&QSPI_Cmd,HAL_QSPI_TIMEOUT);
	QSPI_AutoPollingMemReadyIT (QSPIHandle);
	qspiSendReady = false;
}

static void QSPI_Initilize(QSPI_HandleTypeDef *QSPIHandle)
{
	uint8_t data[3];
	QSPI_Cmd.InstructionMode		= QSPI_INSTRUCTION_1_LINE;
	QSPI_Cmd.AddressSize				= QSPI_ADDRESS_24_BITS;
  QSPI_Cmd.AlternateByteMode	= QSPI_ALTERNATE_BYTES_NONE;
	QSPI_Cmd.AlternateBytes			= 0;
	QSPI_Cmd.AlternateBytesSize = 0;
  QSPI_Cmd.DdrMode						= QSPI_DDR_MODE_DISABLE;
	QSPI_Cmd.DdrHoldHalfCycle		= QSPI_DDR_HHC_ANALOG_DELAY;
  QSPI_Cmd.SIOOMode						= QSPI_SIOO_INST_EVERY_CMD;    // No change needed till this point
	QSPI_Cmd.Instruction				= 0x05;
	QSPI_Cmd.Address						= 0;
	QSPI_Cmd.AddressMode				= QSPI_ADDRESS_1_LINE;
	QSPI_Cmd.DummyCycles				= 0;
	QSPI_Cmd.DataMode						= QSPI_DATA_1_LINE;
	QSPI_Cmd.NbData							= 1;

	//	Read Status Register at First
	QSPI_Cmd.Instruction			= 0x05;
	QSPI_Cmd.Address					= 0;
	QSPI_Cmd.AddressMode			= QSPI_ADDRESS_NONE;
	QSPI_Cmd.DummyCycles			= 0;
	QSPI_Cmd.DataMode					= QSPI_DATA_1_LINE;
	QSPI_Cmd.NbData						= 1;
	if (HAL_QSPI_Command (QSPIHandle,&QSPI_Cmd,HAL_QSPI_TIMEOUT) != HAL_OK){
		Error_Handler();
	}
	if (HAL_QSPI_Receive (QSPIHandle,&data[0],HAL_QSPI_TIMEOUT) != HAL_OK){
		Error_Handler();
	}
	if ((data[0]&0x40) != 0x40){
		Error_Handler ();
	}
	//printf("Status Reg : %d\n" , data[0]);

	//  Set Status and Configuration Registers
	data[0] = 64;
	data[1] = 0;
	data[2] = 2;
	QSPI_WriteEnable (QSPIHandle);
	QSPI_Cmd.Instruction			= 0x01;
	QSPI_Cmd.Address					= 0;
	QSPI_Cmd.AddressMode			= QSPI_ADDRESS_NONE;
	QSPI_Cmd.DummyCycles			= 0;
	QSPI_Cmd.DataMode					= QSPI_DATA_1_LINE;
	QSPI_Cmd.NbData						= 3;
	HAL_QSPI_Command (QSPIHandle,&QSPI_Cmd,HAL_QSPI_TIMEOUT);
	HAL_QSPI_Transmit (QSPIHandle,data,HAL_QSPI_TIMEOUT);
	QSPI_AutoPollingMemReady (QSPIHandle);

	HAL_Delay (100);

	//	Read Configuration Register
	QSPI_Cmd.Instruction			= 0x15;
	QSPI_Cmd.Address					= 0;
	QSPI_Cmd.AddressMode			= QSPI_ADDRESS_NONE;
	QSPI_Cmd.DummyCycles			= 0;
	QSPI_Cmd.DataMode					= QSPI_DATA_1_LINE;
	QSPI_Cmd.NbData						= 2;
	if (HAL_QSPI_Command (QSPIHandle,&QSPI_Cmd,HAL_QSPI_TIMEOUT) != HAL_OK){
		Error_Handler();
	}
	if (HAL_QSPI_Receive (QSPIHandle,&data[0],HAL_QSPI_TIMEOUT) != HAL_OK){
		Error_Handler();
	}
	//printf("Configuration Reg : %d,%d\n" , data[0], data[1]);

	//	Erase whole chip before programming
	/*QSPI_WriteEnable (QSPIHandle);
	QSPI_Cmd.Instruction			= 0x60;
	QSPI_Cmd.Address					= 0;
	QSPI_Cmd.AddressMode			= QSPI_ADDRESS_NONE;
	QSPI_Cmd.DummyCycles			= 0;
	QSPI_Cmd.DataMode					= QSPI_DATA_NONE;
	QSPI_Cmd.NbData						= 0;
	HAL_QSPI_Command (QSPIHandle,&QSPI_Cmd,HAL_QSPI_TIMEOUT);
	QSPI_AutoPollingMemReady (QSPIHandle);*/

}

static void QSPI_Send(QSPI_HandleTypeDef *QSPIHandle, uint8_t *sendData, uint32_t NbData, uint32_t Addr)
{
	if (NbData>256){	// Max send data one page (256 Bytes)
		Error_Handler();
	}
	while (!qspiSendReady);
	QSPI_WriteEnable (QSPIHandle);
	QSPI_Cmd.Instruction			= 0x38;
	QSPI_Cmd.Address					= Addr;
	QSPI_Cmd.AddressMode			= QSPI_ADDRESS_4_LINES;
	QSPI_Cmd.DummyCycles			= 0;
	QSPI_Cmd.DataMode					= QSPI_DATA_4_LINES;
	QSPI_Cmd.NbData						= NbData;
	HAL_QSPI_Command (QSPIHandle,&QSPI_Cmd,1);
	HAL_QSPI_Transmit (QSPIHandle,sendData,1);
	QSPI_AutoPollingMemReadyIT (QSPIHandle);
	qspiSendReady = false;

}

static void QSPI_Receive(QSPI_HandleTypeDef *QSPIHandle, uint8_t *receiveData, uint32_t NbData, uint32_t Addr)
{
	if (NbData>256){	// Max send data one page (256 Bytes)
		Error_Handler();
	}
	QSPI_Cmd.Instruction			= 0x6B;
	QSPI_Cmd.Address					= Addr;
	QSPI_Cmd.AddressMode			= QSPI_ADDRESS_1_LINE;
	QSPI_Cmd.DummyCycles			= 8;
	QSPI_Cmd.DataMode					= QSPI_DATA_4_LINES;
	QSPI_Cmd.NbData						= NbData;
	HAL_QSPI_Command (QSPIHandle,&QSPI_Cmd,HAL_QSPI_TIMEOUT);
	HAL_QSPI_Receive (QSPIHandle,receiveData,HAL_QSPI_TIMEOUT);
	QSPI_AutoPollingMemReady (QSPIHandle);

}

// Feature calculation functions
/**
  * @brief Initialize feature extraction
  * @retval None
  */
void featureInit(void){

	// init fft library
	arm_cfft_radix2_init_f32(&fft_struct, FftN, 0, 0);
	//fft_struct.fftLen = FftN;

	// init buffers
	recBuffer= (float32_t*)calloc(FftN, sizeof(float32_t));
	fftBuffer = (float32_t*)calloc(2*FftN, sizeof(float32_t));
	Fftt = 0;
	Fftn = 0;
	mag_max0 = 0;
	mag_max1 = 0;
}
/**
  * @brief Update feature extraction
  * @retval None
  */
void featureUpdate(float32_t* inputBuffer){

		// fill left FFT buffer
		for(int i = 0; i < FftN; i++){
			fftBuffer[2 * i] = inputBuffer[i]; // real
			fftBuffer[2 * i + 1] = 0.0f; // imaginary
			inputBuffer[i] = 0;
		}

		// run fft calculation
		arm_cfft_radix2_f32(&fft_struct, fftBuffer);

		// extract magnitude
		float32_t real;
		float32_t imag;
		for(int i = 0; i < FfthalfN; i++){
			real = fftBuffer[2 * i];
			imag = fftBuffer[2 * i + 1];
			arm_sqrt_f32(real * real + imag * imag, &inputBuffer[i]);

			if(inputBuffer[i] > mag_max0 && Micn == 0){
				mag_max0 = inputBuffer[i];
			} else if (inputBuffer[i] > mag_max1 && Micn == 1){
				mag_max1 = inputBuffer[i];
			}
		}

		// normalize magnitude and save into the featureBuffer
		for(int i = 0; i < FfthalfN; i++){
			if (i%4 == 0)
				featureBuffer[Fftt][i/4][Micn] = inputBuffer[i];
		}
}
/**
  * @brief Clean feature extraction
  * @retval None
  */
void featureClean(void){

		// clean buffers
		Fftt = 0;
		Fftn = 0;
		mag_max0 = 0;
		mag_max1 = 0;
		for (int m = 0; m < FftT; m++) {
			for (int n = 0; n < FftNSave; n++) {
				for (int o = 0; o < MicN; o++) {
					featureBuffer[m][n][o] = 0.0f;
				}
			}
		}

		if(recBuffer){
			for (int m = 0; m < FftN; m++) {
				recBuffer[m] = 0.0f;
			}
		}

		if(fftBuffer){
			for (int m = 0; m < FftN * 2; m++) {
				fftBuffer[m] = 0.0f;
			}
		}
}
/* USER CODE END 4 */

void Error_Handler(void)
{
  /* USER CODE BEGIN Error_Handler_Debug */
  /* User can add his own implementation to report the HAL error return state */
	printf("We have error\n");
  /* USER CODE END Error_Handler_Debug */
}

/************************ (C) COPYRIGHT STMicroelectronics *****END OF FILE****/
